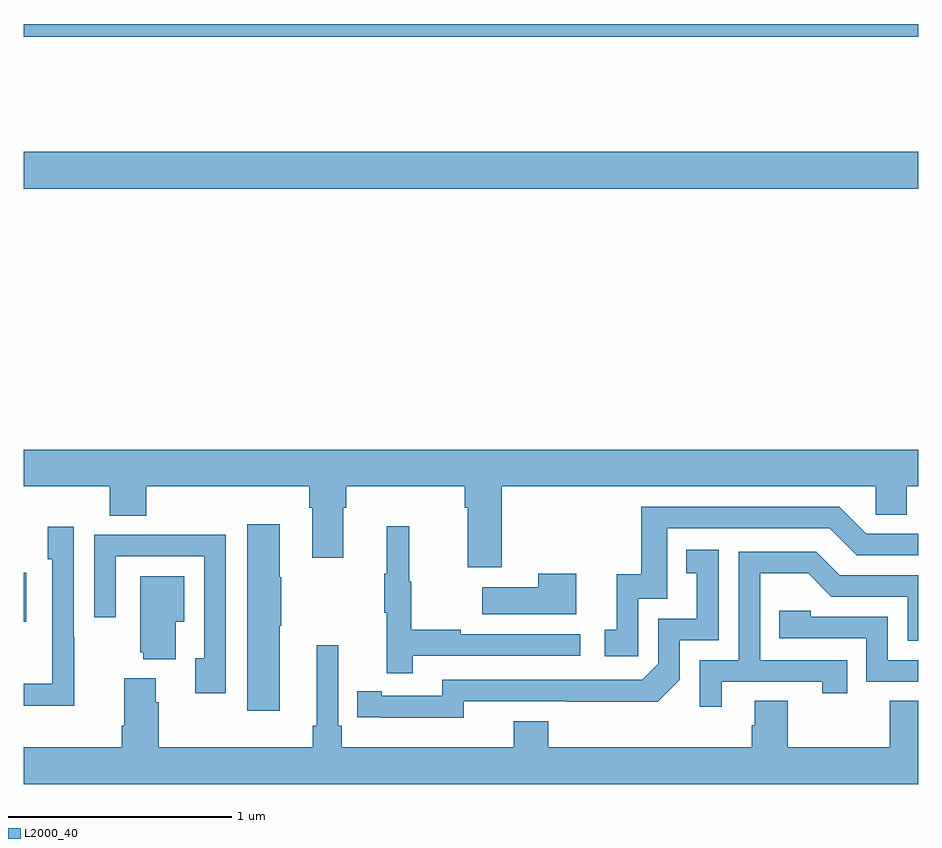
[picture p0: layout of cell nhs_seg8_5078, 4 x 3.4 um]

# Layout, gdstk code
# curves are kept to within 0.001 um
import gdstk
lib = gdstk.Library(unit=1e-6, precision=1e-09)
def R(c, l, rs):  # rectangles x0, y0, x1, y1
    for r in rs: c.add(gdstk.rectangle(r[:2], r[2:], *l))
def P(c, l, *ps):  # polygons
    for p in ps: c.add(gdstk.Polygon(p, *l))
L2000_40 = (2000, 40)

nhs_seg8_5078 = lib.new_cell('nhs_seg8_5078')
R(nhs_seg8_5078, L2000_40, [(417,1117.226,417.01,1117.445), (417,1119.164,421,1119.328), (417,1119.844,421,1119.9)])
P(nhs_seg8_5078, L2000_40, [(417,1117.832),(417.383,1117.832),(417.383,1117.699),(417.548,1117.699),(417.548,1117.832),(418.277,1117.832),(418.277,1117.736),(418.289,1117.736),(418.289,1117.512),(418.429,1117.512),(418.429,1117.736),(418.442,1117.736),(418.442,1117.832),(418.973,1117.832),(418.973,1117.736),(418.985,1117.736),(418.985,1117.47),(419.138,1117.47),(419.138,1117.832),(420.81,1117.832),(420.81,1117.705),(420.949,1117.705),(420.949,1117.832),(421,1117.832),(421,1117.996),(417,1117.996)],
  [(419.748,1117.329),(419.877,1117.329),(419.877,1117.644),(420.606,1117.644),(420.726,1117.524),(421,1117.524),(421,1117.62),(420.768,1117.62),(420.648,1117.74),(419.761,1117.74),(419.761,1117.438),(419.651,1117.438),(419.651,1117.191),(419.598,1117.191),(419.598,1117.071),(419.748,1117.071)],
  [(418.144,1117.207),(418.152,1117.207),(418.152,1117.424),(418.144,1117.424),(418.144,1117.663),(417.998,1117.663),(417.998,1116.828),(418.144,1116.828)],
  [(418.739,1117.074),(419.488,1117.074),(419.488,1117.17),(418.955,1117.17),(418.955,1117.19),(418.732,1117.19),(418.732,1117.404),(418.724,1117.404),(418.724,1117.654),(418.622,1117.654),(418.622,1117.441),(418.611,1117.441),(418.611,1117.267),(418.622,1117.267),(418.622,1116.996),(418.739,1116.996)],
  [(417.225,1117.157),(417.222,1117.157),(417.222,1117.651),(417.107,1117.651),(417.107,1117.506),(417.126,1117.506),(417.126,1116.948),(417,1116.948),(417,1116.851),(417.225,1116.851)],
  [(417.903,1117.616),(417.631,1117.616),(417.631,1117.614),(417.315,1117.614),(417.315,1117.245),(417.411,1117.245),(417.411,1117.518),(417.807,1117.518),(417.807,1117.062),(417.767,1117.062),(417.767,1116.906),(417.903,1116.906)],
  [(418.968,1116.87),(419.836,1116.869),(419.934,1116.966),(419.934,1117.143),(420.108,1117.143),(420.108,1117.549),(419.962,1117.549),(419.962,1117.443),(420.011,1117.443),(420.011,1117.239),(419.838,1117.239),(419.838,1117.038),(419.766,1116.966),(418.872,1116.966),(418.872,1116.894),(418.6,1116.894),(418.6,1116.914),(418.492,1116.914),(418.492,1116.798),(418.968,1116.797)],
  [(420.121,1116.957),(420.572,1116.957),(420.572,1116.906),(420.683,1116.906),(420.683,1117.053),(420.294,1117.053),(420.294,1117.442),(420.508,1117.442),(420.612,1117.338),(420.954,1117.338),(420.954,1117.14),(421,1117.14),(421,1117.434),(420.649,1117.434),(420.544,1117.539),(420.198,1117.539),(420.198,1117.053),(420.024,1117.053),(420.024,1116.846),(420.121,1116.846)],
  [(419.47,1117.441),(419.3,1117.441),(419.3,1117.381),(419.051,1117.381),(419.051,1117.259),(419.47,1117.259)],
  [(417.679,1117.226),(417.718,1117.226),(417.718,1117.429),(417.521,1117.429),(417.521,1117.089),(417.533,1117.089),(417.533,1117.058),(417.679,1117.058)],
  [(421,1117.053),(420.864,1117.053),(420.864,1117.248),(420.519,1117.248),(420.519,1117.275),(420.379,1117.275),(420.379,1117.152),(420.768,1117.152),(420.768,1116.957),(421,1116.957)],
  [(421,1116.872),(420.874,1116.872),(420.874,1116.664),(420.417,1116.664),(420.417,1116.872),(420.269,1116.872),(420.269,1116.762),(420.257,1116.762),(420.257,1116.664),(419.345,1116.664),(419.345,1116.781),(419.192,1116.781),(419.192,1116.664),(418.421,1116.664),(418.421,1116.76),(418.407,1116.76),(418.407,1117.12),(418.31,1117.12),(418.31,1116.76),(418.291,1116.76),(418.291,1116.664),(417.602,1116.664),(417.602,1116.866),(417.589,1116.866),(417.589,1116.973),(417.449,1116.973),(417.449,1116.76),(417.437,1116.76),(417.437,1116.664),(417,1116.664),(417,1116.5),(421,1116.5)])

lib.write_gds('nhs_seg8_5078.gds')
